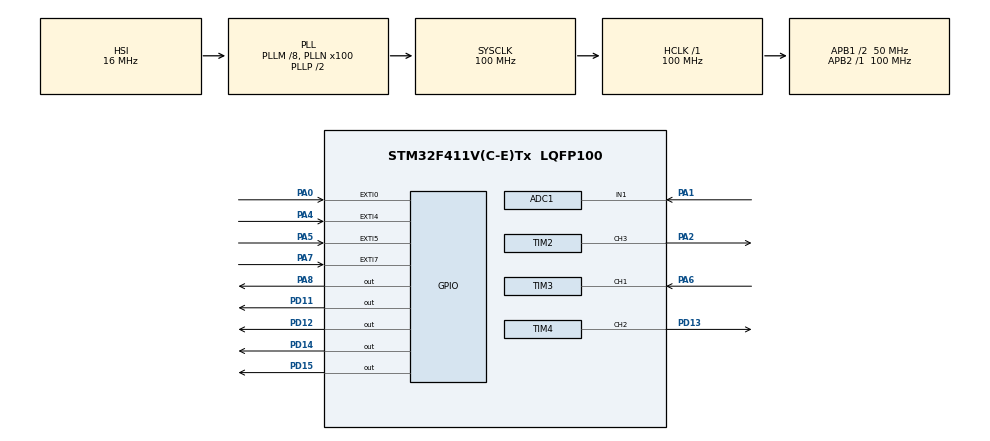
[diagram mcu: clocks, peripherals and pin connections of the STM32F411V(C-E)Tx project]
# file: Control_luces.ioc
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ADC1.Channel-7\#ChannelRegularConversion=ADC_CHANNEL_1
ADC1.NbrOfConversionFlag=1
ADC1.Rank-7\#ChannelRegularConversion=1
ADC1.Resolution=ADC_RESOLUTION_8B
ADC1.SamplingTime-7\#ChannelRegularConversion=ADC_SAMPLETIME_3CYCLES
ADC1.master=1
Mcu.Family=STM32F4
Mcu.Name=STM32F411V(C-E)Tx
Mcu.Package=LQFP100
NVIC.EXTI0_IRQn=true\:0\:0\:false\:false\:true\:true\:true\:true
NVIC.EXTI4_IRQn=true\:0\:0\:false\:false\:true\:true\:true\:true
NVIC.EXTI9_5_IRQn=true\:0\:0\:false\:false\:true\:true\:true\:true
NVIC.PriorityGroup=NVIC_PRIORITYGROUP_4
NVIC.TIM3_IRQn=true\:0\:0\:false\:false\:true\:true\:true\:true
PA0-WKUP.Signal=GPXTI0
PA1.Signal=ADCx_IN1
PA2.Signal=S_TIM2_CH3
PA4.Signal=GPXTI4
PA5.Signal=GPXTI5
PA6.Signal=S_TIM3_CH1
PA7.Signal=GPXTI7
PA8.Signal=GPIO_Output
PD11.Signal=GPIO_Output
PD12.Signal=GPIO_Output
PD13.Signal=S_TIM4_CH2
PD14.Signal=GPIO_Output
PD15.Signal=GPIO_Output
ProjectManager.HeapSize=0x200
ProjectManager.StackSize=0x400
ProjectManager.TargetToolchain=STM32CubeIDE
RCC.48MHZClocksFreq_Value=50000000
RCC.AHBFreq_Value=100000000
RCC.APB1CLKDivider=RCC_HCLK_DIV2
RCC.APB1Freq_Value=50000000
RCC.APB1TimFreq_Value=100000000
RCC.APB2Freq_Value=100000000
RCC.APB2TimFreq_Value=100000000
RCC.CortexFreq_Value=100000000
RCC.HCLKFreq_Value=100000000
RCC.HSE_VALUE=25000000
RCC.HSI_VALUE=16000000
RCC.LSE_VALUE=32768
RCC.PLLM=8
RCC.PLLN=100
RCC.SYSCLKFreq_VALUE=100000000
RCC.SYSCLKSource=RCC_SYSCLKSOURCE_PLLCLK
RCC.VCOOutputFreq_Value=200000000
SH.ADCx_IN1.0=ADC1_IN1,IN1
SH.S_TIM2_CH3.0=TIM2_CH3,PWM Generation3 CH3
SH.S_TIM3_CH1.0=TIM3_CH1,Input_Capture1_from_TI1
SH.S_TIM4_CH2.0=TIM4_CH2,Output Compare2 CH2
TIM2.Channel-PWM\ Generation3\ CH3=TIM_CHANNEL_3
TIM2.Period=100
TIM2.Prescaler=16
TIM2.Pulse-PWM\ Generation3\ CH3=50
TIM3.Channel-Input_Capture1_from_TI1=TIM_CHANNEL_1
TIM3.Prescaler=100-1
TIM4.AutoReloadPreload=TIM_AUTORELOAD_PRELOAD_ENABLE
TIM4.Channel-Output\ Compare2\ CH2=TIM_CHANNEL_2
TIM4.OC2Preload=ENABLE
TIM4.OCMode_2=TIM_OCMODE_TOGGLE
TIM4.OCPolarity_2=TIM_OCPOLARITY_LOW
TIM4.Period=200
TIM4.Prescaler=64000
TIM4.Pulse-Output\ Compare2\ CH2=500
VP_TIM4_VS_ClockSourceINT.Mode=Internal
board=custom

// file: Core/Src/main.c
/* USER CODE BEGIN Header */
/**
  ******************************************************************************
  * @file           : main.c
  * @brief          : Main program body
  ******************************************************************************
  * @attention
  *
  * Copyright (c) 2022 STMicroelectronics.
  * All rights reserved.
  *
  * This software is licensed under terms that can be found in the LICENSE file
  * in the root directory of this software component.
  * If no LICENSE file comes with this software, it is provided AS-IS.
  *
  ******************************************************************************
  */
/* USER CODE END Header */
#include "main.h"

ADC_HandleTypeDef hadc1;

TIM_HandleTypeDef htim2;
TIM_HandleTypeDef htim3;
TIM_HandleTypeDef htim4;

void SystemClock_Config(void);
static void MX_GPIO_Init(void);
static void MX_TIM4_Init(void);
static void MX_TIM3_Init(void);
static void MX_ADC1_Init(void);
static void MX_TIM2_Init(void);

/* USER CODE BEGIN 0 */
volatile int button1=0;
volatile int button2=0;
volatile int button3=0;
uint8_t adcval;
void HAL_GPIO_EXTI_Callback(uint16_t GPIO_Pin)
{
	if (GPIO_Pin==GPIO_PIN_0)//LUZ HABITACIÓN
	{
		button1=1;
	}

	if(GPIO_Pin==GPIO_PIN_5)
	{
		//HAL_TIM_OC_Start(&htim4,TIM_CHANNEL_2);
		button2=1;
	}

	/*if(GPIO_Pin==GPIO_PIN_4)
		{
			//HAL_TIM_OC_Start(&htim4,TIM_CHANNEL_2);
			button3=1;
		}*/

	/*if (GPIO_Pin==GPIO_PIN_7)//LUZ COCINA
	{
	    button3=1;
	}*/
}

int debouncer(volatile int* p_flag, GPIO_TypeDef* GPIO_port, uint16_t GPIO_number){
	static uint8_t button_count=0;
	static int count=0;

	if (*p_flag == 1){
		if (button_count == 0) {
			count=HAL_GetTick();
			button_count++;
		}
		if (HAL_GetTick()-count>=20){
			count=HAL_GetTick();
			if (HAL_GPIO_ReadPin(GPIO_port, GPIO_number)!=1){
				button_count=1;
			}
			else{
				button_count++;
			}
			if (button_count == 4){
				button_count=0;
				*p_flag = 0;
				return 1;
			}
		}
	}
	return 0;
}

void delay(uint16_t time)
{
	__HAL_TIM_SET_COUNTER(&htim3,0);
	while (__HAL_TIM_GET_COUNTER (&htim3) < time);
}

uint32_t Valor1=0;
uint32_t Valor2=0;
uint32_t Diferencia=0;
uint8_t Is_First_Captured=0;
uint8_t Distancia=0;

//int estado=0;

#define TRIG_PIN GPIO_PIN_8
#define TRIG_PORT GPIOA

void HAL_TIM_IC_CaptureCallback(TIM_HandleTypeDef *htim)//SENSOR ULTRASONICO
{
	if (htim->Channel == HAL_TIM_ACTIVE_CHANNEL_1)  // interruptor en canal 1
	{
		if (Is_First_Captured==0) // si es capturado el primer valor
		{
			Valor1 = HAL_TIM_ReadCapturedValue(htim, TIM_CHANNEL_1); // lee valor 1
			Is_First_Captured = 1;
			// Cambia a FALLING
			__HAL_TIM_SET_CAPTUREPOLARITY(htim, TIM_CHANNEL_1, TIM_INPUTCHANNELPOLARITY_FALLING);
		}

		else if (Is_First_Captured==1)
		{
			Valor2 = HAL_TIM_ReadCapturedValue(htim, TIM_CHANNEL_1);  // lee valor 2
			__HAL_TIM_SET_COUNTER(htim, 0);  // reset counter

			if (Valor2 > Valor1)
			{
				Diferencia = Valor2-Valor1;
			}

			else if (Valor1 > Valor2)
			{
				Diferencia = (65535 - Valor1) + Valor2;
			}

			Distancia = Diferencia * .034/2;
			if(Distancia<100)
			{
				HAL_TIM_OC_Start(&htim4, TIM_CHANNEL_2);//LED 13
				//HAL_GPIO_WritePin(GPIOD, GPIO_PIN_14, GPIO_PIN_SET);
			}
			if (Distancia>100)
			{
				//HAL_GPIO_WritePin(GPIOD, GPIO_PIN_14, GPIO_PIN_RESET);
				HAL_TIM_OC_Stop(&htim4, TIM_CHANNEL_2);
				/*int tiempo=HAL_GetTick();
				if (HAL_GetTick()-tiempo>=2000)
				{
					HAL_GPIO_WritePin(GPIOD, GPIO_PIN_14, GPIO_PIN_RESET);
				}*/
			}
			Is_First_Captured = 0;

			// Cambia a polaridad en Rising Edge
			__HAL_TIM_SET_CAPTUREPOLARITY(htim, TIM_CHANNEL_1, TIM_INPUTCHANNELPOLARITY_RISING);
			__HAL_TIM_DISABLE_IT(&htim3, TIM_IT_CC1);
		}
	}
}

void HCSR04_Read (void)//LECTURA SENSOR. Señal de impulso
{
	HAL_GPIO_WritePin(TRIG_PORT, TRIG_PIN, GPIO_PIN_SET);  // pull the TRIG pin HIGH
	HAL_Delay(10);
	HAL_GPIO_WritePin(TRIG_PORT, TRIG_PIN, GPIO_PIN_RESET);  // pull the TRIG pin low

	__HAL_TIM_ENABLE_IT(&htim3, TIM_IT_CC1);
}
/* USER CODE END 0 */

int main(void)
{

  /* MCU Configuration--------------------------------------------------------*/

  /* Reset of all peripherals, Initializes the Flash interface and the Systick. */
  HAL_Init();

  /* Configure the system clock */
  SystemClock_Config();

  /* Initialize all configured peripherals */
  MX_GPIO_Init();
  MX_TIM4_Init();
  MX_TIM3_Init();
  MX_ADC1_Init();
  MX_TIM2_Init();
  /* USER CODE BEGIN 2 */

  HAL_TIM_IC_Start_IT(&htim3, TIM_CHANNEL_1);
  HAL_TIM_PWM_Start(&htim2,TIM_CHANNEL_3);

  int tiempo=HAL_GetTick();

  /* USER CODE END 2 */

  /* Infinite loop */
  while (1)
  {

    /* USER CODE BEGIN 3 */
	  /*if (debouncer(&button3,GPIOA,GPIO_PIN_7)==1)
	  {
		  //button3=0;
		  if (estado==1)
		  {
			  estado=0;
		  }
		  else
		  {
			  estado=1;
		  }
		  if (estado==2)
		  {
			  estado=0;
		  }
	   }*/

	  //if (estado==0)
	  //{
		  if (debouncer(&button1,GPIOA,GPIO_PIN_0)==1)
		  	  {
		  		  HAL_GPIO_TogglePin(GPIOD, GPIO_PIN_12);
		  		  HAL_Delay(10);
		  	  }

		  	  if (debouncer(&button2,GPIOA,GPIO_PIN_5)==1)
		  	  	  {
		  	  		  HAL_GPIO_TogglePin(GPIOD, GPIO_PIN_15);
		  	  		  HAL_GPIO_TogglePin(GPIOD, GPIO_PIN_11);
		  	  		  HAL_Delay(10);
		  	  	  }

		  	  /*if (debouncer(&button3,GPIOA,GPIO_PIN_4)==1)
		  	  	  	  {
		  	  	  		  HAL_GPIO_TogglePin(GPIOD, GPIO_PIN_15);
		  	  	  		  HAL_Delay(10);
		  	  	  	  }*/

		  	  HAL_ADC_Start(&hadc1);
		  	  /*if(HAL_ADC_PollForConversion(&hadc1,100)==HAL_OK){
		  		  adcval=HAL_ADC_GetValue(&hadc1);
		  		  if(adcval<63){
		  			  HAL_GPIO_WritePin(GPIOD,GPIO_PIN_15,1);
		  			  HAL_Delay(10);
		  		  }
		  		  else{
		  			  HAL_GPIO_WritePin(GPIOD,GPIO_PIN_15,0);
		  		  }
		  	  }*/
		  	  if(HAL_ADC_PollForConversion(&hadc1,100)==HAL_OK)
		  	  {

		  		  __HAL_TIM_SET_COMPARE(&htim2, TIM_CHANNEL_3, HAL_ADC_GetValue(&hadc1)/10);

		  	  }
		  	  HAL_ADC_Stop(&hadc1);

		  	  HCSR04_Read();
		  	  HAL_Delay(200);

		  	if (HAL_GetTick()-tiempo>30000)//LUZ AUTOM�?TICA (Se enciende durante el día y se apaga por la noche)
		  	{
		  		HAL_GPIO_TogglePin(GPIOD, GPIO_PIN_14);
		  		tiempo=HAL_GetTick();
		  	}
	  //}
  }
  /* USER CODE END 3 */
}

void SystemClock_Config(void)
{
  RCC_OscInitTypeDef RCC_OscInitStruct = {0};
  RCC_ClkInitTypeDef RCC_ClkInitStruct = {0};

  /** Configure the main internal regulator output voltage
  */
  __HAL_RCC_PWR_CLK_ENABLE();
  __HAL_PWR_VOLTAGESCALING_CONFIG(PWR_REGULATOR_VOLTAGE_SCALE1);

  /** Initializes the RCC Oscillators according to the specified parameters
  * in the RCC_OscInitTypeDef structure.
  */
  RCC_OscInitStruct.OscillatorType = RCC_OSCILLATORTYPE_HSI;
  RCC_OscInitStruct.HSIState = RCC_HSI_ON;
  RCC_OscInitStruct.HSICalibrationValue = RCC_HSICALIBRATION_DEFAULT;
  RCC_OscInitStruct.PLL.PLLState = RCC_PLL_ON;
  RCC_OscInitStruct.PLL.PLLSource = RCC_PLLSOURCE_HSI;
  RCC_OscInitStruct.PLL.PLLM = 8;
  RCC_OscInitStruct.PLL.PLLN = 100;
  RCC_OscInitStruct.PLL.PLLP = RCC_PLLP_DIV2;
  RCC_OscInitStruct.PLL.PLLQ = 4;
  if (HAL_RCC_OscConfig(&RCC_OscInitStruct) != HAL_OK)
  {
    Error_Handler();
  }

  /** Initializes the CPU, AHB and APB buses clocks
  */
  RCC_ClkInitStruct.ClockType = RCC_CLOCKTYPE_HCLK|RCC_CLOCKTYPE_SYSCLK
                              |RCC_CLOCKTYPE_PCLK1|RCC_CLOCKTYPE_PCLK2;
  RCC_ClkInitStruct.SYSCLKSource = RCC_SYSCLKSOURCE_PLLCLK;
  RCC_ClkInitStruct.AHBCLKDivider = RCC_SYSCLK_DIV1;
  RCC_ClkInitStruct.APB1CLKDivider = RCC_HCLK_DIV2;
  RCC_ClkInitStruct.APB2CLKDivider = RCC_HCLK_DIV1;

  if (HAL_RCC_ClockConfig(&RCC_ClkInitStruct, FLASH_LATENCY_3) != HAL_OK)
  {
    Error_Handler();
  }
}

static void MX_ADC1_Init(void)
{

  ADC_ChannelConfTypeDef sConfig = {0};

  /** Configure the global features of the ADC (Clock, Resolution, Data Alignment and number of conversion)
  */
  hadc1.Instance = ADC1;
  hadc1.Init.ClockPrescaler = ADC_CLOCK_SYNC_PCLK_DIV4;
  hadc1.Init.Resolution = ADC_RESOLUTION_8B;
  hadc1.Init.ScanConvMode = DISABLE;
  hadc1.Init.ContinuousConvMode = DISABLE;
  hadc1.Init.DiscontinuousConvMode = DISABLE;
  hadc1.Init.ExternalTrigConvEdge = ADC_EXTERNALTRIGCONVEDGE_NONE;
  hadc1.Init.ExternalTrigConv = ADC_SOFTWARE_START;
  hadc1.Init.DataAlign = ADC_DATAALIGN_RIGHT;
  hadc1.Init.NbrOfConversion = 1;
  hadc1.Init.DMAContinuousRequests = DISABLE;
  hadc1.Init.EOCSelection = ADC_EOC_SINGLE_CONV;
  if (HAL_ADC_Init(&hadc1) != HAL_OK)
  {
    Error_Handler();
  }

  /** Configure for the selected ADC regular channel its corresponding rank in the sequencer and its sample time.
  */
  sConfig.Channel = ADC_CHANNEL_1;
  sConfig.Rank = 1;
  sConfig.SamplingTime = ADC_SAMPLETIME_3CYCLES;
  if (HAL_ADC_ConfigChannel(&hadc1, &sConfig) != HAL_OK)
  {
    Error_Handler();
  }

}

static void MX_TIM2_Init(void)
{

  TIM_MasterConfigTypeDef sMasterConfig = {0};
  TIM_OC_InitTypeDef sConfigOC = {0};

  htim2.Instance = TIM2;
  htim2.Init.Prescaler = 16;
  htim2.Init.CounterMode = TIM_COUNTERMODE_UP;
  htim2.Init.Period = 100;
  htim2.Init.ClockDivision = TIM_CLOCKDIVISION_DIV1;
  htim2.Init.AutoReloadPreload = TIM_AUTORELOAD_PRELOAD_DISABLE;
  if (HAL_TIM_PWM_Init(&htim2) != HAL_OK)
  {
    Error_Handler();
  }
  sMasterConfig.MasterOutputTrigger = TIM_TRGO_RESET;
  sMasterConfig.MasterSlaveMode = TIM_MASTERSLAVEMODE_DISABLE;
  if (HAL_TIMEx_MasterConfigSynchronization(&htim2, &sMasterConfig) != HAL_OK)
  {
    Error_Handler();
  }
  sConfigOC.OCMode = TIM_OCMODE_PWM1;
  sConfigOC.Pulse = 50;
  sConfigOC.OCPolarity = TIM_OCPOLARITY_HIGH;
  sConfigOC.OCFastMode = TIM_OCFAST_DISABLE;
  if (HAL_TIM_PWM_ConfigChannel(&htim2, &sConfigOC, TIM_CHANNEL_3) != HAL_OK)
  {
    Error_Handler();
  }
  HAL_TIM_MspPostInit(&htim2);

}

static void MX_TIM3_Init(void)
{

  TIM_MasterConfigTypeDef sMasterConfig = {0};
  TIM_IC_InitTypeDef sConfigIC = {0};

  htim3.Instance = TIM3;
  htim3.Init.Prescaler = 100-1;
  htim3.Init.CounterMode = TIM_COUNTERMODE_UP;
  htim3.Init.Period = 65535;
  htim3.Init.ClockDivision = TIM_CLOCKDIVISION_DIV1;
  htim3.Init.AutoReloadPreload = TIM_AUTORELOAD_PRELOAD_DISABLE;
  if (HAL_TIM_IC_Init(&htim3) != HAL_OK)
  {
    Error_Handler();
  }
  sMasterConfig.MasterOutputTrigger = TIM_TRGO_RESET;
  sMasterConfig.MasterSlaveMode = TIM_MASTERSLAVEMODE_DISABLE;
  if (HAL_TIMEx_MasterConfigSynchronization(&htim3, &sMasterConfig) != HAL_OK)
  {
    Error_Handler();
  }
  sConfigIC.ICPolarity = TIM_INPUTCHANNELPOLARITY_RISING;
  sConfigIC.ICSelection = TIM_ICSELECTION_DIRECTTI;
  sConfigIC.ICPrescaler = TIM_ICPSC_DIV1;
  sConfigIC.ICFilter = 0;
  if (HAL_TIM_IC_ConfigChannel(&htim3, &sConfigIC, TIM_CHANNEL_1) != HAL_OK)
  {
    Error_Handler();
  }

}

static void MX_TIM4_Init(void)
{

  TIM_ClockConfigTypeDef sClockSourceConfig = {0};
  TIM_MasterConfigTypeDef sMasterConfig = {0};
  TIM_OC_InitTypeDef sConfigOC = {0};

  htim4.Instance = TIM4;
  htim4.Init.Prescaler = 64000;
  htim4.Init.CounterMode = TIM_COUNTERMODE_UP;
  htim4.Init.Period = 200;
  htim4.Init.ClockDivision = TIM_CLOCKDIVISION_DIV1;
  htim4.Init.AutoReloadPreload = TIM_AUTORELOAD_PRELOAD_ENABLE;
  if (HAL_TIM_Base_Init(&htim4) != HAL_OK)
  {
    Error_Handler();
  }
  sClockSourceConfig.ClockSource = TIM_CLOCKSOURCE_INTERNAL;
  if (HAL_TIM_ConfigClockSource(&htim4, &sClockSourceConfig) != HAL_OK)
  {
    Error_Handler();
  }
  if (HAL_TIM_OC_Init(&htim4) != HAL_OK)
  {
    Error_Handler();
  }
  sMasterConfig.MasterOutputTrigger = TIM_TRGO_RESET;
  sMasterConfig.MasterSlaveMode = TIM_MASTERSLAVEMODE_DISABLE;
  if (HAL_TIMEx_MasterConfigSynchronization(&htim4, &sMasterConfig) != HAL_OK)
  {
    Error_Handler();
  }
  sConfigOC.OCMode = TIM_OCMODE_TOGGLE;
  sConfigOC.Pulse = 500;
  sConfigOC.OCPolarity = TIM_OCPOLARITY_LOW;
  sConfigOC.OCFastMode = TIM_OCFAST_DISABLE;
  if (HAL_TIM_OC_ConfigChannel(&htim4, &sConfigOC, TIM_CHANNEL_2) != HAL_OK)
  {
    Error_Handler();
  }
  __HAL_TIM_ENABLE_OCxPRELOAD(&htim4, TIM_CHANNEL_2);
  HAL_TIM_MspPostInit(&htim4);

}

static void MX_GPIO_Init(void)
{
  GPIO_InitTypeDef GPIO_InitStruct = {0};

  /* GPIO Ports Clock Enable */
  __HAL_RCC_GPIOA_CLK_ENABLE();
  __HAL_RCC_GPIOD_CLK_ENABLE();

  /*Configure GPIO pin Output Level */
  HAL_GPIO_WritePin(GPIOD, GPIO_PIN_11|GPIO_PIN_12|GPIO_PIN_14|GPIO_PIN_15, GPIO_PIN_RESET);

  /*Configure GPIO pin Output Level */
  HAL_GPIO_WritePin(GPIOA, GPIO_PIN_8, GPIO_PIN_RESET);

  /*Configure GPIO pins : PA0 PA4 PA5 PA7 */
  GPIO_InitStruct.Pin = GPIO_PIN_0|GPIO_PIN_4|GPIO_PIN_5|GPIO_PIN_7;
  GPIO_InitStruct.Mode = GPIO_MODE_IT_RISING;
  GPIO_InitStruct.Pull = GPIO_NOPULL;
  HAL_GPIO_Init(GPIOA, &GPIO_InitStruct);

  /*Configure GPIO pins : PD11 PD12 PD14 PD15 */
  GPIO_InitStruct.Pin = GPIO_PIN_11|GPIO_PIN_12|GPIO_PIN_14|GPIO_PIN_15;
  GPIO_InitStruct.Mode = GPIO_MODE_OUTPUT_PP;
  GPIO_InitStruct.Pull = GPIO_NOPULL;
  GPIO_InitStruct.Speed = GPIO_SPEED_FREQ_LOW;
  HAL_GPIO_Init(GPIOD, &GPIO_InitStruct);

  /*Configure GPIO pin : PA8 */
  GPIO_InitStruct.Pin = GPIO_PIN_8;
  GPIO_InitStruct.Mode = GPIO_MODE_OUTPUT_PP;
  GPIO_InitStruct.Pull = GPIO_NOPULL;
  GPIO_InitStruct.Speed = GPIO_SPEED_FREQ_LOW;
  HAL_GPIO_Init(GPIOA, &GPIO_InitStruct);

  /* EXTI interrupt init*/
  HAL_NVIC_SetPriority(EXTI0_IRQn, 0, 0);
  HAL_NVIC_EnableIRQ(EXTI0_IRQn);

  HAL_NVIC_SetPriority(EXTI4_IRQn, 0, 0);
  HAL_NVIC_EnableIRQ(EXTI4_IRQn);

  HAL_NVIC_SetPriority(EXTI9_5_IRQn, 0, 0);
  HAL_NVIC_EnableIRQ(EXTI9_5_IRQn);

}

void Error_Handler(void)
{
  __disable_irq();
  while (1)
  {
  }
}
